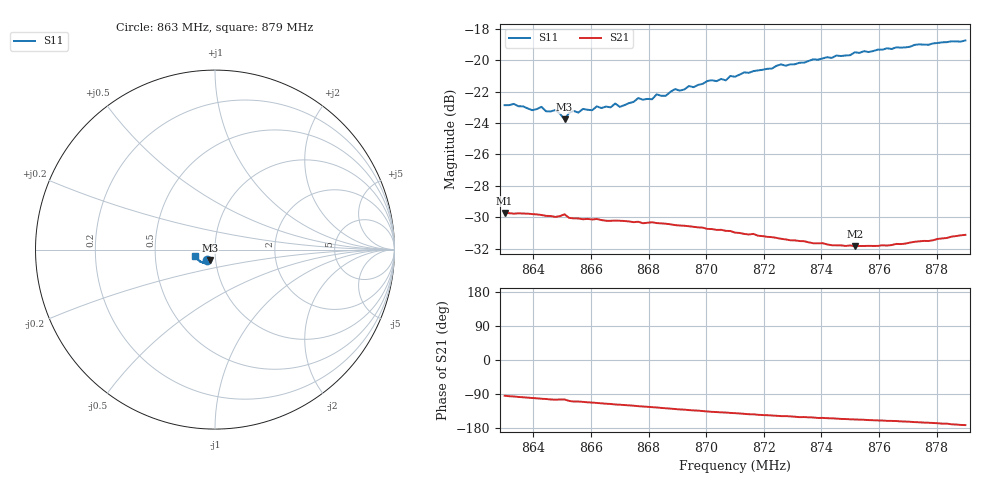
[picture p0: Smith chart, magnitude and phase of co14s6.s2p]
# HZ S RI R 50
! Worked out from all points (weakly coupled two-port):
!   101 points, 863 MHz to 879 MHz, reference 50 ohm
!   highest |S21| = -29.73 dB at 863 MHz (marker M1); lowest = -31.8 dB at 875.16 MHz (marker M2)
!   lowest |S11| = -23.8 dB at 865.08 MHz (marker M3), VSWR 1.14, Z = 46.9 - j5.44 ohm
!   |S11| at or under -10 dB: start of sweep to end of sweep
!   S12 and S22 are empty: the file has one direction only
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8.63e8  -0.0443 -0.0566  -0.00241 -0.0325  0 0  0 0
8.6396e8  -0.0418 -0.0553  -0.00577 -0.0318  0 0  0 0
8.6428e8  -0.0404 -0.0584  -0.00682 -0.0314  0 0  0 0
8.6476e8  -0.0394 -0.0571  -0.00809 -0.0306  0 0  0 0
8.6508e8  -0.0292 -0.0579  -0.00796 -0.0313  0 0  0 0
8.6524e8  -0.0371 -0.0569  -0.00968 -0.0299  0 0  0 0
8.6572e8  -0.0366 -0.0596  -0.0109 -0.0292  0 0  0 0
8.6668e8  -0.0361 -0.0609  -0.0135 -0.0277  0 0  0 0
8.6684e8  -0.0364 -0.063  -0.0142 -0.0274  0 0  0 0
8.67e8  -0.0352 -0.0617  -0.0145 -0.0272  0 0  0 0
8.6764e8  -0.0377 -0.0658  -0.0161 -0.026  0 0  0 0
8.6812e8  -0.0369 -0.0654  -0.0172 -0.0251  0 0  0 0
8.6828e8  -0.0384 -0.0677  -0.0175 -0.0247  0 0  0 0
8.6844e8  -0.0386 -0.0667  -0.018 -0.0243  0 0  0 0
8.6892e8  -0.0404 -0.0701  -0.0189 -0.0231  0 0  0 0
8.6908e8  -0.0416 -0.0683  -0.0193 -0.0227  0 0  0 0
8.7004e8  -0.0457 -0.0727  -0.0208 -0.0202  0 0  0 0
8.71e8  -0.0503 -0.0729  -0.0217 -0.018  0 0  0 0
8.7372e8  -0.0699 -0.0726  -0.023 -0.0124  0 0  0 0
8.7516e8  -0.0823 -0.0668  -0.0235 -0.01  0 0  0 0
8.7644e8  -0.0909 -0.0595  -0.0243 -0.0085  0 0  0 0
8.79e8  -0.1093 -0.0377  -0.0275 -0.00399  0 0  0 0
